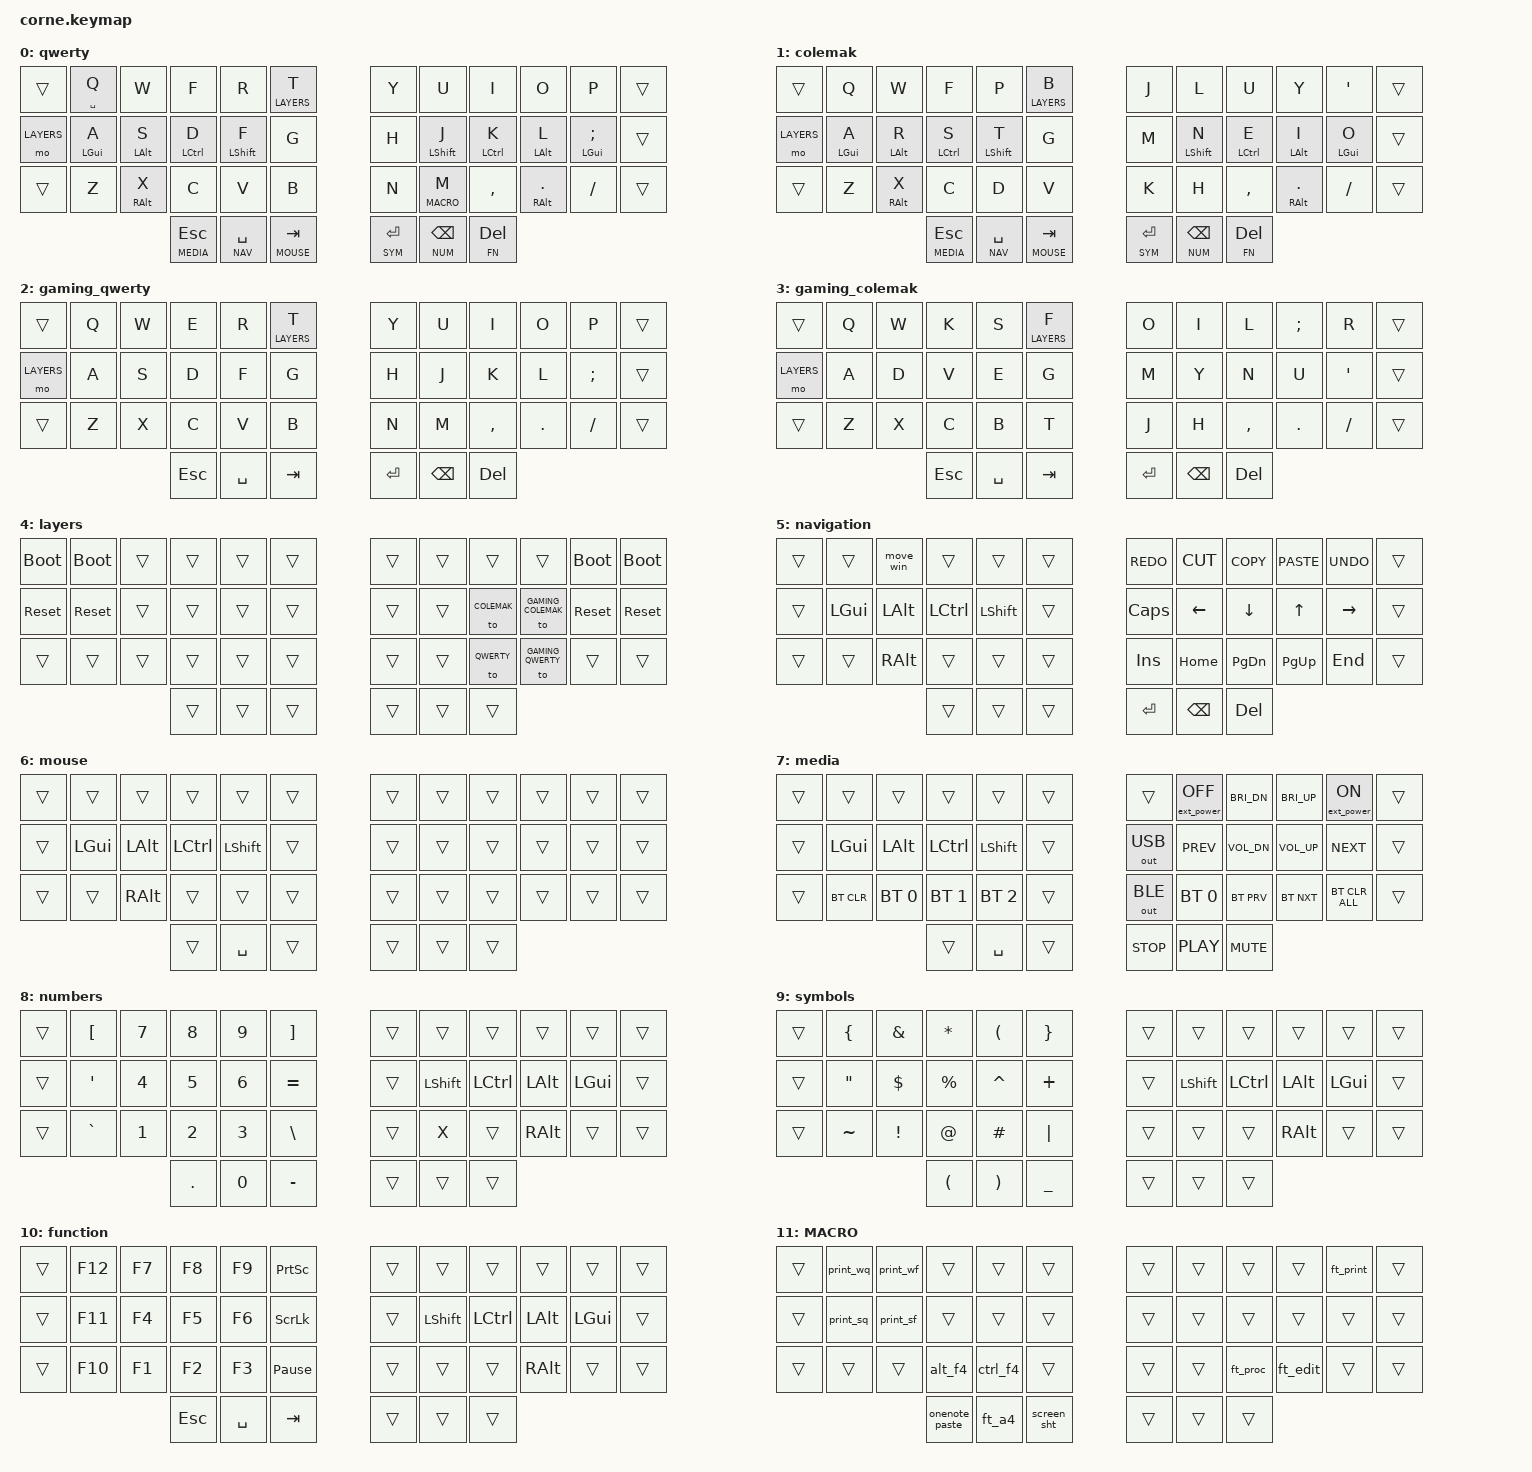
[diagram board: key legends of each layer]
#include <behaviors.dtsi>
#include <dt-bindings/zmk/bt.h>
#include <dt-bindings/zmk/ext_power.h>
#include <dt-bindings/zmk/keys.h>
#include <dt-bindings/zmk/outputs.h>

// Layer Definitions

#define QWERTY 0
#define COLEMAK 1
#define GAMING_COLEMAK 2
#define GAMING_QWERTY 3
#define LAYERS 4
#define NAV 5
#define MOUSE 6
#define MEDIA 7
#define NUM 8
#define SYM 9
#define FN 10
#define MACRO 11

// Behavior configuration

&mt {
    tapping-term-ms = <200>;
    quick_tap_ms = <0>;
    flavor = "tap-preferred";
};

&lt {
    tapping-term-ms = <200>;
    quick_tap_ms = <0>;
    flavor = "tap-preferred";
};

&sk {
    release-after-ms = <500>;
    quick-release;
};

/ {
    gqt: global-quick-tap {
        compatible = "zmk,behavior-hold-tap";
        label = "GLOBAL_QUICK_TAP";
        #binding-cells = <2>;
        flavor = "tap-preferred";
        tapping-term-ms = <200>;
        quick-tap-ms = <125>;
        global-quick-tap;
        bindings = <&kp>, <&kp>;
    };

    behaviors {
        bhm: balanced_homerow_mods {
            compatible = "zmk,behavior-hold-tap";
            label = "HOMEROW_MODS";
            #binding-cells = <2>;
            tapping-term-ms = <200>;    // <---[[moderate duration]]
            quick-tap-ms = <0>;
            flavor = "balanced";
            bindings = <&kp>, <&kp>;
        };
    };

    macros {
        screen_sht: screen_sht {
            label = "screen_sht";
            compatible = "zmk,behavior-macro";
            #binding-cells = <0>;
            bindings =
                <&macro_press>,
                <&kp LSHFT &kp LGUI>,
                <&macro_tap>,
                <&kp S>,
                <&macro_release>,
                <&kp LSHFT &kp LGUI>;
        };

        move_win: move_win {
            label = "move_win";
            compatible = "zmk,behavior-macro";
            #binding-cells = <0>;
            bindings =
                <&macro_press>,
                <&kp LALT>,
                <&macro_tap>,
                <&kp SPACE>,
                <&macro_release>,
                <&kp LALT>,
                <&macro_tap>,
                <&kp M>;
        };

        next_desktop: next_desktop {
            label = "next_desktop";
            compatible = "zmk,behavior-macro";
            #binding-cells = <0>;
            bindings =
                <&macro_press>,
                <&kp LGUI &kp LCTRL>,
                <&macro_tap>,
                <&kp RIGHT>,
                <&macro_release>,
                <&kp LGUI &kp LCTRL>;
        };

        prev_desktop: prev_desktop {
            label = "prev_desktop";
            compatible = "zmk,behavior-macro";
            #binding-cells = <0>;
            bindings =
                <&macro_press>,
                <&kp LGUI &kp LCTRL>,
                <&macro_tap>,
                <&kp LEFT>,
                <&macro_release>,
                <&kp LGUI &kp LCTRL>;
        };

        CTRL_ALT_DEL: CTRL_ALT_DEL {
            label = "CTRL_ALT_DEL";
            compatible = "zmk,behavior-macro";
            #binding-cells = <0>;
            bindings =
                <&macro_press>,
                <&kp LALT &kp LCTRL>,
                <&macro_tap>,
                <&kp DEL>,
                <&macro_release>,
                <&kp LALT &kp LCTRL>;
        };

        // microsoft onenote past

        onenote_paste: onenote_paste {
            label = "onenote_paste";
            compatible = "zmk,behavior-macro";
            #binding-cells = <0>;
            bindings =
                <&macro_press>,
                <&kp LCTRL>,
                <&macro_wait_time 300>,
                <&macro_tap>,
                <&kp V>,
                <&macro_release>,
                <&kp LCTRL>,
                <&macro_wait_time 200>,
                <&macro_tap>,
                <&kp SPACE &kp TAB>,
                <&macro_press>,
                <&kp LGUI>,
                <&macro_tap>,
                <&kp V>,
                <&macro_wait_time 500>,
                <&macro_release>,
                <&kp LGUI>,
                <&macro_wait_time 200>,
                <&macro_tap>,
                <&kp DOWN>,
                <&macro_tap>,
                <&kp RET>;
        };

        alt_f4: alt_f4 {
            label = "alt_f4";
            compatible = "zmk,behavior-macro";
            #binding-cells = <0>;
            bindings =
                <&macro_press>,
                <&kp LALT>,
                <&macro_tap>,
                <&kp F4>,
                <&macro_release>,
                <&kp LALT>;
        };

        ctrl_f4: ctrl_f4 {
            label = "ctrl_f4";
            compatible = "zmk,behavior-macro";
            #binding-cells = <0>;
            bindings =
                <&macro_press>,
                <&kp LCTRL>,
                <&macro_tap>,
                <&kp F4>,
                <&macro_release>,
                <&kp LCTRL>;
        };

        //fact application macro

        ft_a4_scrn_sht: ft_a4_scrn_sht {
            label = "ft_a4_scrn_sht";
            compatible = "zmk,behavior-macro";
            #binding-cells = <0>;
            bindings =
                <&macro_press>,
                <&kp LSHFT &kp LCTRL>,
                <&macro_tap>,
                <&kp P>,
                <&macro_release>,
                <&kp LSHFT &kp LCTRL>,
                <&macro_tap>,
                <&kp TAB &kp TAB &kp TAB &kp DOWN &kp DOWN &kp TAB &kp TAB &kp RET>,
                <&macro_wait_time 2200>,
                <&macro_press>,
                <&kp LSHFT &kp LGUI>,
                <&macro_tap>,
                <&kp S>,
                <&macro_release>,
                <&kp LSHFT &kp LGUI>;
        };

        ft_a4: ft_a4 {
            label = "ft_a4";
            compatible = "zmk,behavior-macro";
            #binding-cells = <0>;
            bindings =
                <&macro_press>,
                <&kp LSHFT &kp LCTRL>,
                <&macro_tap>,
                <&kp P>,
                <&macro_release>,
                <&kp LSHFT &kp LCTRL>,
                <&macro_tap>,
                <&kp TAB &kp TAB &kp TAB &kp DOWN &kp DOWN &kp TAB &kp TAB &kp RET>;
        };

        ft_proc: ft_proc {
            label = "ft_proc";
            compatible = "zmk,behavior-macro";
            #binding-cells = <0>;
            bindings =
                <&macro_press>,
                <&kp LSHFT &kp LCTRL>,
                <&macro_tap>,
                <&kp U>,
                <&macro_release>,
                <&kp LSHFT &kp LCTRL>,
                <&macro_tap>,
                <&kp RET>;
        };

        ft_edit: ft_edit_doc {
            label = "ft_edit_doc";
            compatible = "zmk,behavior-macro";
            #binding-cells = <0>;
            bindings = <&macro_tap>, <&kp F6 &kp RET>;
        };

        ft_tri_close: tri_close {
            label = "ft_tri_close";
            compatible = "zmk,behavior-macro";
            #binding-cells = <0>;
            bindings =
                <&macro_press>,
                <&kp LALT>,
                <&macro_tap>,
                <&kp F4>,
                <&macro_release>,
                <&kp LALT>,
                <&macro_wait_time 350>,
                <&macro_tap>,
                <&kp ESC &kp ESC &kp ESC>;
        };

        //FACT PRINT DIALOG

        ft_print: ft_print {
            label = "ft_print";
            compatible = "zmk,behavior-macro";
            #binding-cells = <0>;
            bindings =
                <&macro_press>,
                <&kp LSHFT &kp LCTRL>,
                <&macro_tap>,
                <&kp P>,
                <&macro_release>,
                <&kp LSHFT &kp LCTRL>;
        };

        //WAREHOUSE QATTAN - FACT PRINT DIALOG

        print_wq: print_wq {
            label = "print_wq";
            compatible = "zmk,behavior-macro";
            #binding-cells = <0>;
            bindings =
                <&macro_tap>,
                <&kp RET>,
                <&macro_tap>,
                <&kp TAB &kp RIGHT &kp RET &kp LBKT &kp DOWN>;
        };

        //WAREHOUSE FURNITURE - FACT PRINT DIALOG

        print_wf: print_wf {
            label = "print_wf";
            compatible = "zmk,behavior-macro";
            #binding-cells = <0>;
            bindings =
                <&macro_tap>,
                <&kp RET>,
                <&macro_tap>,
                <&kp TAB &kp RIGHT &kp RET &kp LBKT>;
        };

        //SHOP QATTAN - FACT PRINT DIALOG

        print_sq: print_sq {
            label = "print_sq";
            compatible = "zmk,behavior-macro";
            #binding-cells = <0>;
            bindings =
                <&macro_tap>,
                <&kp RET>,
                <&macro_tap>,
                <&kp TAB &kp RIGHT &kp RET &kp KP_N0>;
        };

        //SHOP FURNITURE - FACT PRINT DIALOG

        print_sf: print_sf {
            label = "print_sf";
            compatible = "zmk,behavior-macro";
            #binding-cells = <0>;
            bindings =
                <&macro_tap>,
                <&kp RET>,
                <&macro_tap>,
                <&kp TAB &kp RIGHT &kp RET &kp BSLH>;
        };
    };
};

// Keymap configuration (Colemak-DHm)

/ {
    keymap {
        compatible = "zmk,keymap";

        qwerty {
            // -----------------------------------------------------------------------------------------------------------------------------
            // |        |   Q    |   W    |     E     |     R     |     T     | # |     Y     |     U    |    I    |    O   |   P    |     |
            // | LAYERS | A/LGUI | S/LALT |  D/LCTRL  |  F/LSHFT  |     G     | # |     H     | J/LSHFT  | K/LCTRR | L/LALT | ;/LGUI |     |
            // |        |   Z    | X/RALT |     C     |     V     |     B     | # |     N     |     M    |    ,    | ./RALT |   /    |     |
            //                            | ESC/MEDIA | SPACE/NAV | TAB/MOUSE | # | ENTER/SYM | BSPC/NUM | DEL/FN  |

            bindings = <
&trans      &mt SPACE Q  &kp W       &kp F          &kp R          &lt LAYERS T     &kp Y          &kp U         &kp I        &kp O         &kp P          &trans
&mo LAYERS  &mt LGUI A   &mt LALT S  &mt LCTRL D    &mt LSHFT F    &kp G            &kp H          &mt LSHFT J   &mt LCTRL K  &mt LALT L    &mt LGUI SEMI  &trans
&trans      &kp Z        &mt RALT X  &kp C          &kp V          &kp B            &kp N          &lt MACRO M   &kp COMMA    &mt RALT DOT  &kp FSLH       &trans
                                     &lt MEDIA ESC  &lt NAV SPACE  &lt MOUSE TAB    &lt SYM ENTER  &lt NUM BSPC  &lt FN DEL
            >;
        };

        colemak {
            // -----------------------------------------------------------------------------------------------------------------------------
            // |        |   Q    |   W    |     F     |     P     |     B     | # |     J     |    L     |    U    |    Y   |   '    |     |
            // | LAYERS | A/LGUI | R/LALT |  S/LCTRL  |  T/LSHFT  |     G     | # |     M     | N/LSHFT  | E/LCTRL | I/LALT | O/LGUI |     |
            // |        |   Z    | X/RALT |     C     |     D     |     V     | # |     K     |    H     |    ,    | ./RALT |   /    |     |
            //                            | ESC/MEDIA | SPACE/NAV | TAB/MOUSE | # | ENTER/SYM | BSPC/NUM | DEL/FN  |

            bindings = <
&trans      &kp Q       &kp W       &kp F          &kp P          &lt LAYERS B     &kp J          &kp L         &kp U        &kp Y         &kp SQT     &trans
&mo LAYERS  &mt LGUI A  &mt LALT R  &mt LCTRL S    &mt LSHFT T    &kp G            &kp M          &mt LSHFT N   &mt LCTRL E  &mt LALT I    &mt LGUI O  &trans
&trans      &kp Z       &mt RALT X  &kp C          &kp D          &kp V            &kp K          &kp H         &kp COMMA    &mt RALT DOT  &kp FSLH    &trans
                                    &lt MEDIA ESC  &lt NAV SPACE  &lt MOUSE TAB    &lt SYM ENTER  &lt NUM BSPC  &lt FN DEL
            >;
        };

        gaming_qwerty {
            // ----------------------------------------------------------------------------------------------------
            // |        |   Q   |   W   |   E   |   R   |   T   | # |   Y   |   U   |   I   |   O   |   P   |     |
            // | LAYERS |   A   |   S   |   D   |   F   |   G   | # |   H   |   J   |   K   |   L   |   ;   |     |
            // |        |   Z   |   X   |   C   |   V   |   B   | # |   N   |   M   |   ,   |   .   |   /   |     |
            //                          |  ESC  | SPACE |  TAB  | # | ENTER | BSPC  |  DEL  |

            bindings = <
&trans      &kp Q  &kp W  &kp E    &kp R      &lt LAYERS T    &kp Y      &kp U     &kp I      &kp O    &kp P     &trans
&mo LAYERS  &kp A  &kp S  &kp D    &kp F      &kp G           &kp H      &kp J     &kp K      &kp L    &kp SEMI  &trans
&trans      &kp Z  &kp X  &kp C    &kp V      &kp B           &kp N      &kp M     &kp COMMA  &kp DOT  &kp FSLH  &trans
                          &kp ESC  &kp SPACE  &kp TAB         &kp ENTER  &kp BSPC  &kp DEL
            >;
        };

        gaming_colemak {
            // ----------------------------------------------------------------------------------------------------
            // |        |   Q   |   W   |   F   |   P   |   B   | # |   J   |   L   |   U   |   Y   |   '   |     |
            // | LAYERS |   A   |   R   |   S   |   T   |   G   | # |   M   |   N   |   E   |   I   |   O   |     |
            // |        |   Z   |   X   |   C   |   D   |   V   | # |   K   |   H   |   ,   |   .   |   /   |     |
            //                          |  ESC  | SPACE |  TAB  | # | ENTER | BSPC  |  DEL  |

            bindings = <
&trans      &kp Q  &kp W  &kp K    &kp S      &lt LAYERS F    &kp O      &kp I     &kp L      &kp SEMI  &kp R     &trans
&mo LAYERS  &kp A  &kp D  &kp V    &kp E      &kp G           &kp M      &kp Y     &kp N      &kp U     &kp SQT   &trans
&trans      &kp Z  &kp X  &kp C    &kp B      &kp T           &kp J      &kp H     &kp COMMA  &kp DOT   &kp FSLH  &trans
                          &kp ESC  &kp SPACE  &kp TAB         &kp ENTER  &kp BSPC  &kp DEL
            >;
        };

        layers {
            // ---------------------------------------------------------------------------------------------
            // | bootloader | bootloader |     |     |     | HELD | # |     |     |         |                | bootloader | bootloader |
            // |    HELD    |            |     |     |     |      | # |     |     | COLEMAK | GAMING_COLEMAK |            |            |
            // |            |            |     |     |     |      | # |     |     | QWERTY  | GAMING_QWERTY  |            |            |
            //                                 |     |     |      | # |     |     |         |

            bindings = <
&bootloader  &bootloader  &trans  &trans  &trans  &trans    &trans  &trans  &trans       &trans              &bootloader  &bootloader
&sys_reset   &sys_reset   &trans  &trans  &trans  &trans    &trans  &trans  &to COLEMAK  &to GAMING_COLEMAK  &sys_reset   &sys_reset
&trans       &trans       &trans  &trans  &trans  &trans    &trans  &trans  &to QWERTY   &to GAMING_QWERTY   &trans       &trans
                                  &trans  &trans  &trans    &trans  &trans  &trans
            >;
        };

        navigation {
            // -------------------------------------------------------------------------------------------
            // |     |      | move_win |       |       |     | # | REDO  | CUT  | COPY | PASTE | UNDO  |     |
            // |     | LGUI |   LALT   | LCTRL | LSHFT |     | # | CAPS  | LEFT | DOWN | UP    | RIGHT |     |
            // |     |      |   RALT   |       |       |     | # | INS   | HOME | PGDN | PGUP  | END   |     |
            //                         |       | HELD  |     | # | ENTER | BSPC | DEL  |

            bindings = <
&trans  &trans    &move_win  &trans     &trans     &trans    &kp K_REDO    &kp K_CUT  &kp K_COPY  &kp K_PASTE  &kp K_UNDO  &trans
&trans  &kp LGUI  &kp LALT   &kp LCTRL  &kp LSHFT  &trans    &kp CAPSLOCK  &kp LEFT   &kp DOWN    &kp UP       &kp RIGHT   &trans
&trans  &trans    &kp RALT   &trans     &trans     &trans    &kp INS       &kp HOME   &kp PG_DN   &kp PG_UP    &kp END     &trans
                             &trans     &trans     &trans    &kp ENTER     &kp BSPC   &kp DEL
            >;
        };

        // TODO
        // Add mouse keys when implemented in ZMK

        mouse {
            // ------------------------------------------------------------------------------------
            // |     |      |      |       |       |      | # |     |     |     |     |     |     |
            // |     | LGUI | LALT | LCTRL | LSHFT |      | # |     |     |     |     |     |     |
            // |     |      | RALT |       |       |      | # |     |     |     |     |     |     |
            //                     |       |       | HELD | # |     |     |     |

            bindings = <
&trans  &trans    &trans    &trans     &trans     &trans    &trans  &trans  &trans  &trans  &trans  &trans
&trans  &kp LGUI  &kp LALT  &kp LCTRL  &kp LSHFT  &trans    &trans  &trans  &trans  &trans  &trans  &trans
&trans  &trans    &kp RALT  &trans     &trans     &trans    &trans  &trans  &trans  &trans  &trans  &trans
                            &trans     &kp SPACE  &trans    &trans  &trans  &trans
            >;
        };

        media {
            // -----------------------------------------------------------------------------------------------------
            // |     |      |      |       |       |      | # | BOOTLOAD | EP_OFF | BR_D   | BR_U   | EP_ON  |     |
            // |     | LGUI | LALT | LCTRL | LSHFT |      | # | RESET    | PREV   | VOL_D  | VOL_U  | NEXT   |     |
            // |     |      | RALT |       |       |      | # | OUT_BLE  | BT_0   | BT_PRV | BT_NXT | BT_CLR_ALL |     |
            //                     | HELD  |       |      | # | STOP     | PLAY   | MUTE   |

            bindings = <
&trans  &trans      &trans        &trans        &trans        &trans    &trans        &ext_power EP_OFF  &kp C_BRI_DN  &kp C_BRI_UP  &ext_power EP_ON  &trans
&trans  &kp LGUI    &kp LALT      &kp LCTRL     &kp LSHFT     &trans    &out OUT_USB  &kp C_PREV         &kp C_VOL_DN  &kp C_VOL_UP  &kp C_NEXT        &trans
&trans  &bt BT_CLR  &bt BT_SEL 0  &bt BT_SEL 1  &bt BT_SEL 2  &trans    &out OUT_BLE  &bt BT_SEL 0       &bt BT_PRV    &bt BT_NXT    &bt BT_CLR_ALL    &trans
                                  &trans        &kp SPACE     &trans    &kp C_STOP    &kp C_PLAY         &kp C_MUTE
            >;
        };

        numbers {
            // -----------------------------------------------------------------------------------
            // |     |  [  |  7  |  8  |  9  |  ]  | # |     |       |       |      |      |     |
            // |     |  ;  |  4  |  5  |  6  |  =  | # |     | LSHFT | LCTRL | LALT | LGUI |     |
            // |     |  `  |  1  |  2  |  3  |  \  | # |     |   X   |       | RALT |      |     |
            //                   |  .  |  0  |  -  | # |     | HELD  |       |

            bindings = <
&trans  &kp LBKT   &kp N7  &kp N8   &kp N9  &kp RBKT     &trans  &trans     &trans     &trans    &trans    &trans
&trans  &kp SQT    &kp N4  &kp N5   &kp N6  &kp EQUAL    &trans  &kp LSHFT  &kp LCTRL  &kp LALT  &kp LGUI  &trans
&trans  &kp GRAVE  &kp N1  &kp N2   &kp N3  &kp BSLH     &trans  &kp X      &trans     &kp RALT  &trans    &trans
                           &kp DOT  &kp N0  &kp MINUS    &trans  &trans     &trans
            >;
        };

        symbols {
            // ------------------------------------------------------------------------------------
            // |     |  {  |  &  |  *  |  (  |  }  | # |      |       |       |      |      |     |
            // |     |  :  |  $  |  %  |  ^  |  +  | # |      | LSHFT | LCTRL | LALT | LGUI |     |
            // |     |  ~  |  !  |  @  |  #  |  |  | # |      |       |       | RALT |      |     |
            //                   |  (  |  )  |  _  | # | HELD |       |       |

            bindings = <
&trans  &kp LBRC   &kp AMPS  &kp ASTRK  &kp LPAR   &kp RBRC          &trans  &trans     &trans     &trans    &trans    &trans
&trans  &kp DQT    &kp DLLR  &kp PRCNT  &kp CARET  &kp PLUS          &trans  &kp LSHFT  &kp LCTRL  &kp LALT  &kp LGUI  &trans
&trans  &kp TILDE  &kp EXCL  &kp AT     &kp HASH   &kp PIPE          &trans  &trans     &trans     &kp RALT  &trans    &trans
                             &kp LPAR   &kp RPAR   &kp UNDERSCORE    &trans  &trans     &trans
            >;
        };

        function {
            // ------------------------------------------------------------------------------------------
            // |     |  F12 |  F7  |  F8  |  F9   | PSCRN | # |     |       |       |      |      |     |
            // |     |  F11 |  F4  |  F5  |  F6   | SLCK  | # |     | LSHFT | LCTRL | LALT | LGUI |     |
            // |     |  F10 |  F1  |  F2  |  F3   | PAUSE | # |     |       |   X   | RALT |      |     |
            //                     | ESC  | SPACE |  TAB  | # |     |       | HELD  |

            bindings = <
&trans  &kp F12  &kp F7  &kp F8   &kp F9     &kp PSCRN          &trans  &trans     &trans     &trans    &trans    &trans
&trans  &kp F11  &kp F4  &kp F5   &kp F6     &kp SLCK           &trans  &kp LSHFT  &kp LCTRL  &kp LALT  &kp LGUI  &trans
&trans  &kp F10  &kp F1  &kp F2   &kp F3     &kp PAUSE_BREAK    &trans  &trans     &trans     &kp RALT  &trans    &trans
                         &kp ESC  &kp SPACE  &kp TAB            &trans  &trans     &trans
            >;
        };

        MACRO {
            // ------------------------------------------------------------------------------------------------------------
            // |     | QT WH | FR WH |           |       |      | # |     |      |          |         | fact print |     |
            // |     | QT SH | FR SH |           |       |      | # |     |      |          |         |            |     |
            // |     |       |       | tri_close |       |      | # |     | HELD | ft_proc  | ft_edit |            |     |
            //                       |           |       |      | # |     |      |          |

            bindings = <
&trans  &print_wq  &print_wf  &trans          &trans    &trans         &trans  &trans  &trans    &trans    &ft_print  &trans
&trans  &print_sq  &print_sf  &trans          &trans    &trans         &trans  &trans  &trans    &trans    &trans     &trans
&trans  &trans     &trans     &alt_f4         &ctrl_f4  &trans         &trans  &trans  &ft_proc  &ft_edit  &trans     &trans
                              &onenote_paste  &ft_a4    &screen_sht    &trans  &trans  &trans
            >;
        };
    };
};
